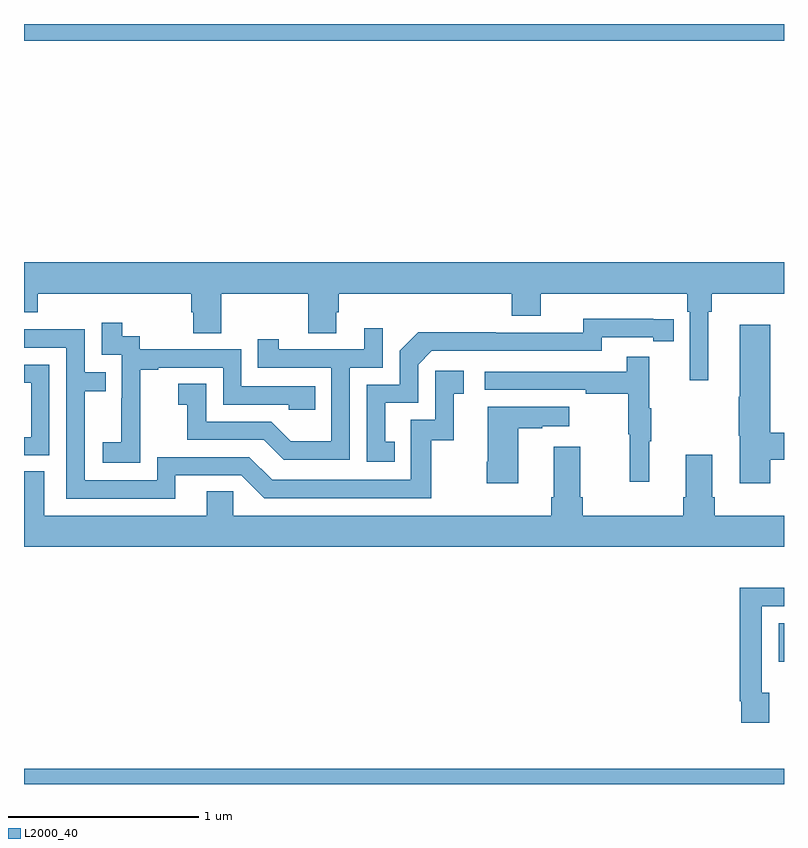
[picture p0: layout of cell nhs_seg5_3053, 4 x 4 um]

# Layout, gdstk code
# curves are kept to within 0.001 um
import gdstk
lib = gdstk.Library(unit=1e-6, precision=1e-09)
def R(c, l, rs):  # rectangles x0, y0, x1, y1
    for r in rs: c.add(gdstk.rectangle(r[:2], r[2:], *l))
def P(c, l, *ps):  # polygons
    for p in ps: c.add(gdstk.Polygon(p, *l))
L2000_40 = (2000, 40)

nhs_seg5_3053 = lib.new_cell('nhs_seg5_3053')
R(nhs_seg5_3053, L2000_40, [(287,900.799,291,900.88), (290.972,901.442,291,901.645), (287,904.712,291,904.799)])
P(nhs_seg5_3053, L2000_40, [(290.602,903.284),(290.621,903.284),(290.621,903.38),(291,903.38),(291,903.544),(287,903.544),(287,903.281),(287.072,903.281),(287.072,903.38),(287.879,903.38),(287.879,903.282),(287.891,903.282),(287.891,903.172),(288.039,903.172),(288.039,903.38),(288.496,903.38),(288.496,903.172),(288.643,903.172),(288.643,903.282),(288.656,903.282),(288.656,903.38),(289.568,903.38),(289.568,903.263),(289.72,903.263),(289.72,903.38),(290.492,903.38),(290.492,903.284),(290.505,903.284),(290.505,902.925),(290.602,902.925)],
  [(288.95,902.601),(288.901,902.601),(288.901,902.805),(289.074,902.805),(289.074,903.006),(289.146,903.078),(290.04,903.078),(290.04,903.15),(290.312,903.15),(290.312,903.13),(290.42,903.13),(290.42,903.246),(289.944,903.247),(289.944,903.174),(289.484,903.174),(289.484,903.176),(289.076,903.176),(288.978,903.078),(288.978,902.901),(288.804,902.901),(288.804,902.496),(288.95,902.496)],
  [(287.613,902.695),(287.612,902.695),(287.612,902.979),(287.707,902.979),(287.707,902.991),(288.048,902.991),(288.048,902.796),(288.393,902.796),(288.393,902.769),(288.533,902.769),(288.533,902.892),(288.144,902.892),(288.144,903.087),(287.61,903.087),(287.61,903.156),(287.518,903.156),(287.518,903.226),(287.409,903.226),(287.409,903.057),(287.514,903.057),(287.514,902.828),(287.513,902.828),(287.513,902.599),(287.415,902.599),(287.415,902.489),(287.613,902.489)],
  [(290.927,902.506),(291,902.506),(291,902.648),(290.927,902.648),(290.927,903.217),(290.768,903.217),(290.768,902.837),(290.761,902.837),(290.761,902.631),(290.768,902.631),(290.768,902.382),(290.927,902.382)],
  [(288.714,902.991),(288.888,902.991),(288.888,903.199),(288.791,903.199),(288.791,903.087),(288.34,903.087),(288.34,903.139),(288.229,903.139),(288.229,902.991),(288.618,902.991),(288.618,902.602),(288.404,902.602),(288.3,902.706),(287.958,902.706),(287.958,902.905),(287.811,902.905),(287.811,902.795),(287.86,902.795),(287.86,902.61),(288.263,902.61),(288.368,902.505),(288.714,902.505)],
  [(287.797,902.424),(288.144,902.424),(288.264,902.304),(289.144,902.304),(289.144,902.607),(289.262,902.607),(289.262,902.853),(289.315,902.853),(289.315,902.974),(289.164,902.974),(289.164,902.715),(289.035,902.715),(289.035,902.4),(288.306,902.4),(288.186,902.52),(287.7,902.52),(287.7,902.397),(287.319,902.397),(287.319,902.866),(287.429,902.866),(287.429,902.967),(287.319,902.967),(287.319,903.192),(287,903.192),(287,903.096),(287.223,903.096),(287.223,902.301),(287.797,902.301)],
  [(290.291,902.603),(290.302,902.603),(290.302,902.777),(290.291,902.777),(290.291,903.049),(290.173,903.049),(290.173,902.97),(289.425,902.97),(289.425,902.874),(289.957,902.874),(289.957,902.854),(290.181,902.854),(290.181,902.64),(290.188,902.64),(290.188,902.391),(290.291,902.391)],
  [(287.133,903.006),(287,903.006),(287,902.91),(287.037,902.91),(287.037,902.625),(287,902.625),(287,902.529),(287.133,902.529)],
  [(289.6,902.671),(289.727,902.671),(289.727,902.681),(289.87,902.681),(289.87,902.785),(289.442,902.785),(289.442,902.494),(289.435,902.494),(289.435,902.382),(289.6,902.382)],
  [(291,902.212),(290.636,902.212),(290.636,902.308),(290.623,902.308),(290.623,902.533),(290.483,902.533),(290.483,902.308),(290.471,902.308),(290.471,902.212),(289.94,902.212),(289.94,902.308),(289.927,902.308),(289.927,902.575),(289.787,902.575),(289.787,902.308),(289.775,902.308),(289.775,902.212),(288.102,902.212),(288.102,902.339),(287.963,902.339),(287.963,902.212),(287.107,902.212),(287.107,902.444),(287,902.444),(287,902.048),(291,902.048)],
  [(290.923,901.278),(290.883,901.278),(290.883,901.734),(291,901.734),(291,901.832),(290.767,901.832),(290.767,901.234),(290.775,901.234),(290.775,901.122),(290.923,901.122)])

lib.write_gds('nhs_seg5_3053.gds')
